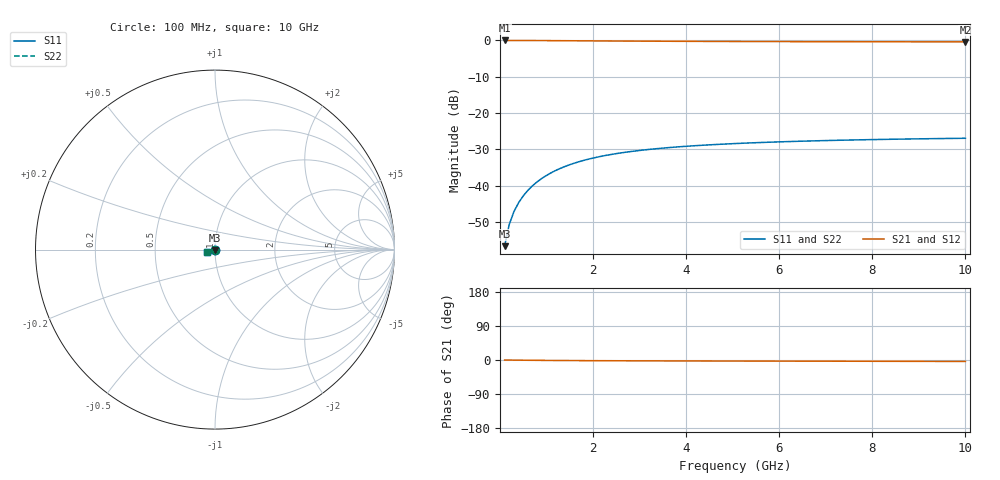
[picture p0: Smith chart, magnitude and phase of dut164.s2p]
! Touchstone file exported from HFSS 2024.1.0
!  File:  C:/UserFiles/LocalFiles/RDL_TSV_Batchsim/temp_TSV1_164_1778755658.aedt
!  Generated:  06:51:22 PM May 14, 2026
!  Design:  TSV1
!  Project:  temp_TSV1_164_1778755658
!  Setup:  Setup1
!  Solution:  Sweep
! Variables:
!  dtsv = 17.28um
!  hbump = 3um
!  htsv = 52.86um
!  lrdl = 252.1521522um
!  p = 40
!  p1 = 56.8um
!  t = 500um
!  trdl = 3um
!  wrdl = 24.89489489um
# GHz S MA R 50.000000
! Terminal data exported
! Port[1] = TSV22_T1
! Port[2] = TSV22_T2
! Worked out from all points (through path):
!   100 points, 100 MHz to 10 GHz, reference 50 ohm
!   highest |S21| = 0.00 dB at 100 MHz (marker M1); lowest = -0.4 dB at 10 GHz (marker M2)
!   lowest |S11| = -56.7 dB at 100 MHz (marker M3), VSWR 1.00, Z = 50 - j0.147 ohm
!   |S11| at or under -10 dB: start of sweep to end of sweep
!   |S22| runs from -56.7 to -26.9 dB; largest |S21 - S12| = 2.4e-15
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0.1  0.00147 -89.6  0.9999 -0.1  0.9999 -0.1  0.00147 -89.6
! Gamma 0 0 0 0
! Port Impedance 50 0 50 0
0.2  0.002933 -92.8  0.9997 -0.2  0.9997 -0.2  0.002933 -92.8
0.3  0.004385 -95.2  0.9995 -0.4  0.9995 -0.4  0.004385 -95.2
0.4  0.005822 -97.4  0.9991 -0.5  0.9991 -0.5  0.005822 -97.4
0.5  0.007237 -99.5  0.9986 -0.6  0.9986 -0.6  0.007237 -99.5
0.6  0.008627 -101.5  0.9981 -0.7  0.9981 -0.7  0.008627 -101.5
0.7  0.009986 -103.4  0.9974 -0.8  0.9974 -0.8  0.009986 -103.4
0.8  0.01131 -105.3  0.9968 -0.9  0.9968 -0.9  0.01131 -105.3
0.9  0.0126 -107.2  0.996 -1.0  0.996 -1.0  0.0126 -107.2
1.1  0.01506 -110.7  0.9944 -1.2  0.9944 -1.2  0.01506 -110.7
1.4  0.01843 -115.5  0.9917 -1.4  0.9917 -1.4  0.01843 -115.5
1.6  0.02046 -118.5  0.9899 -1.5  0.9899 -1.5  0.02046 -118.5
1.8  0.02232 -121.3  0.9881 -1.7  0.9881 -1.7  0.02232 -121.3
2.1  0.02481 -125.2  0.9855 -1.8  0.9855 -1.8  0.02481 -125.2
2.5  0.02766 -129.6  0.9822 -2.0  0.9822 -2.0  0.02766 -129.6
2.9  0.03004 -133.5  0.9792 -2.2  0.9792 -2.2  0.03004 -133.5
3.4  0.0325 -137.6  0.9759 -2.3  0.9759 -2.3  0.0325 -137.6
4.2  0.03557 -143.0  0.9715 -2.5  0.9715 -2.5  0.03557 -143.0
5.1  0.03816 -147.8  0.9676 -2.8  0.9676 -2.8  0.03816 -147.8
6.7  0.04136 -154.2  0.9625 -3.1  0.9625 -3.1  0.04136 -154.2
8.4  0.04358 -159.2  0.9589 -3.5  0.9589 -3.5  0.04358 -159.2
10  0.04499 -163.0  0.9565 -3.8  0.9565 -3.8  0.04499 -163.0
